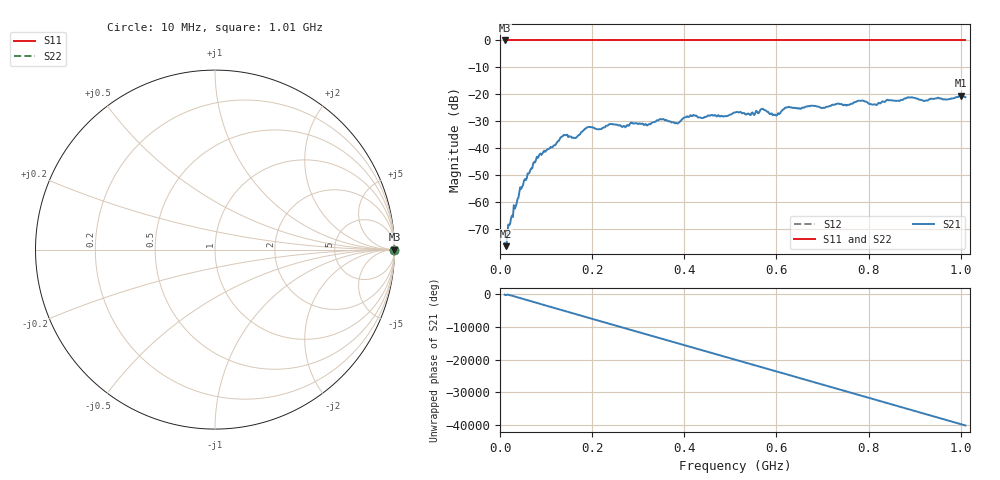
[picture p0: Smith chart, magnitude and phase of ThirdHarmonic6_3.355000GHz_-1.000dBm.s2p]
! 8/17/2025 10:36:08 AM
! C:\ANRITSUVNA\TEMP\TEMP.S2P
! CHANNEL.1
! TR.MEASUREMENT
! RAW.DATA
! RF.CORRECTION.OFF
! AVERAGING.OFF
! IF.BANDWIDTH: 5KHZ
! SWEEPTYPE:  FREQ.SWEEP(Linear)
! Reference Plane Port Info
! PORT:  PORT1  PORT2
! DISTANCE:  0  m  0  m
! TIME:  0  s  0  s
! PHASE.OFFSET:  0  deg.  0  deg.
! LOSS:  0  dB  0  dB
! REF.LOSS:  0  dB  0  dB
! REF.FREQ:  0  Hz  0  Hz
! Power Info
! POWER:  -20  dBm  -20  dBm
! EFF.POWER:  -20  dBm  -20  dBm
! SOURCE.ATTEN:  0  dB  0  dB
! TEST.ATTEN:  0  dB  0  dB
# GHZ S RI R 50.0
! FREQ.GHZ  S11RE  S11IM  S21RE  S21IM  S12RE  S12IM  S22RE  S22IM
!; PortSelection: Port_12
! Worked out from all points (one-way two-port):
!   501 points, 10 MHz to 1.01 GHz, reference 50 ohm
!   highest |S21| = -20.51 dB at 1 GHz (marker M1); lowest = -76.6 dB at 12 MHz (marker M2)
!   lowest |S11| = 0.0 dB at 10 MHz (marker M3)
!   |S11| at or under -10 dB: nowhere
!   |S22| runs from 0.0 to 0.0 dB; largest |S21 - S12| = 1.1
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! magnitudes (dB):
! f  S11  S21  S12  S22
! 10 MHz  0.0  -75.5  0.0  0.0
! 12 MHz  0.0  -76.6  0.0  0.0
! 22 MHz  0.0  -68.2  0.0  0.0
! 42 MHz  0.0  -56.4  0.0  0.0
! 76 MHz  0.0  -45.4  0.0  0.0
! 136 MHz  0.0  -35.7  0.0  0.0
! 162 MHz  0.0  -36.2  0.0  0.0
! 178 MHz  0.0  -34.0  0.0  0.0
! 192 MHz  0.0  -32.2  0.0  0.0
! 322 MHz  0.0  -31.3  0.0  0.0
! 344 MHz  0.0  -29.7  0.0  0.0
! 384 MHz  0.0  -30.8  0.0  0.0
! 416 MHz  0.0  -28.2  0.0  0.0
! 510 MHz  0.0  -26.8  0.0  0.0
! 570 MHz  0.0  -25.4  0.0  0.0
! 596 MHz  0.0  -27.6  0.0  0.0
! 624 MHz  0.0  -24.9  0.0  0.0
! 678 MHz  0.0  -24.3  0.0  0.0
! 814 MHz  0.0  -23.8  0.0  0.0
! 844 MHz  0.0  -22.3  0.0  0.0
! 1 GHz  0.0  -20.5  0.0  0.0
! 1.01 GHz  0.0  -21.1  0.0  0.0
